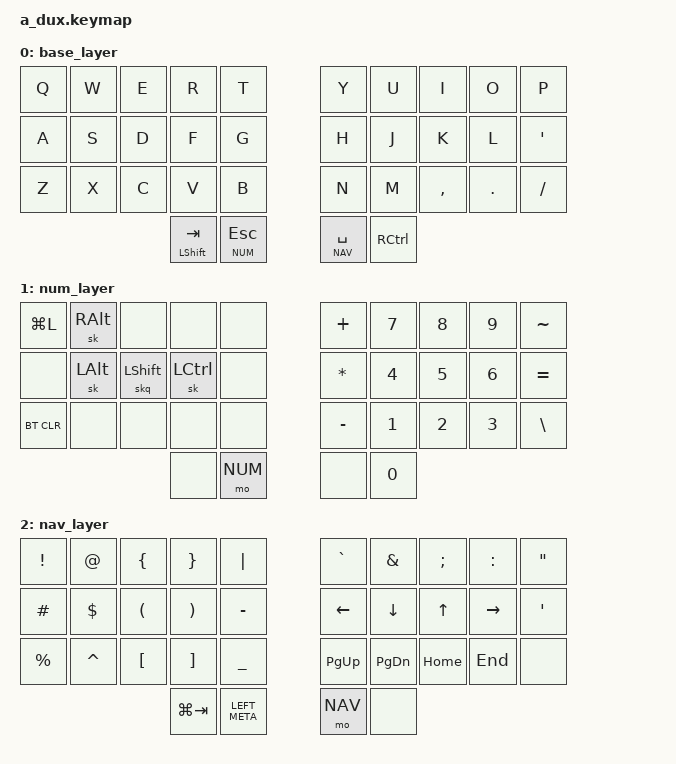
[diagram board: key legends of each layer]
/*
 * Copyright (c) 2021 The ZMK Contributors
 *
 * SPDX-License-Identifier: MIT
 */

#include <behaviors.dtsi>
#include <dt-bindings/zmk/keys.h>
#include <dt-bindings/zmk/bt.h>

#define DEFAULT 0
#define NUM 1
#define NAV 2

/* Avoid issues with double keypresses on Purpz and other light keys
 * https://discord.com/channels/719497620560543766/719909884769992755/882965364038844446
 */
&kscan0 {
    debounce-period = <15>;
};

/* Longer release time on sticky keys like ctrl and alt */
&sk {
  release-after-ms = <2000>;
};

/ {
  behaviors {
        hm: homerow_mods {
            compatible = "zmk,behavior-hold-tap";
            label = "HOMEROW_MODS";
            #binding-cells = <2>;
            tapping-term-ms = <150>;
            quick_tap_ms = <0>;
            flavor = "tap-preferred";
            bindings = <&kp>, <&kp>;
        };
        /* Avoid double letters with sticky shift and quick typing */
        skq: sticky_key_quick_release {
            compatible = "zmk,behavior-sticky-key";
            label = "STICKY_KEY_QUICK_RELEASE";
            #binding-cells = <1>;
            bindings = <&kp>;
            release-after-ms = <2000>;
            quick-release;
        };
    };

  combos {
      compatible = "zmk,combos";
      /* jk for esc */
      combo_esc {
          timeout-ms = <75>;
          key-positions = <16 17>;
          layers = <0>;
          bindings = <&kp ESC>;
      };
      /* fg for control */
      combo_lctrl {
          timeout-ms = <75>;
          key-positions = <13 14>;
          layers = <0 1>;
          bindings = <&sk LCTRL>;
      };
      /* io for backspace */
      combo_backspace {
          timeout-ms = <75>;
          key-positions = <7 8>;
          layers = <0 1 2>;
          bindings = <&kp BSPC>;
      };
      /* xv for enter */
      combo_enter {
          timeout-ms = <75>;
          key-positions = <21 23>;
          layers = <0 1 2>;
          bindings = <&kp ENTER>;
      };
  };

	keymap {
		compatible = "zmk,keymap";

		base_layer {
			bindings = <
				&kp Q  &kp W          &kp E  &kp R           &kp T         &kp Y          &kp U         &kp I     &kp O     &kp P
				&kp A  &kp S          &kp D  &kp F           &kp G         &kp H          &kp J         &kp K     &kp L     &kp APOSTROPHE
				&kp Z  &kp X          &kp C  &kp V           &kp B         &kp N          &kp M         &kp COMMA &kp DOT   &kp SLASH
				                             &mt LSHIFT TAB  &lt NUM ESC   &lt NAV SPACE  &kp RCTRL
			>;
		};
		num_layer {
			bindings = <
				&kp LG(L)  &sk RALT &none       &none           &none      &kp PLUS      &kp N7   &kp N8  &kp N9   &kp TILDE
				&none      &sk LALT &skq LSHIFT &sk LCTRL       &none      &kp ASTERISK  &kp N4   &kp N5  &kp N6   &kp EQUAL
				&bt BT_CLR &none    &none       &none           &none      &kp MINUS     &kp N1   &kp N2  &kp N3   &kp BACKSLASH
				                                &none           &mo NUM    &none         &kp N0
			>;
		};
		nav_layer {
			bindings = <
				&kp EXCLAMATION &kp AT      &kp LEFT_BRACE       &kp RIGHT_BRACE       &kp PIPE          &kp GRAVE    &kp AMPERSAND  &kp SEMICOLON  &kp COLON  &kp DOUBLE_QUOTES
				&kp HASH        &kp DOLLAR  &kp LEFT_PARENTHESIS &kp RIGHT_PARENTHESIS &kp MINUS         &kp LEFT     &kp DOWN       &kp UP         &kp RIGHT  &kp APOSTROPHE
				&kp PERCENT     &kp CARET   &kp LEFT_BRACKET     &kp RIGHT_BRACKET     &kp UNDERSCORE    &kp PAGE_UP  &kp PAGE_DOWN  &kp HOME       &kp END    &none
				                                                 &kp LG(TAB)           &kp LEFT_META     &mo NAV      &none
			>;
		};
	};
};
